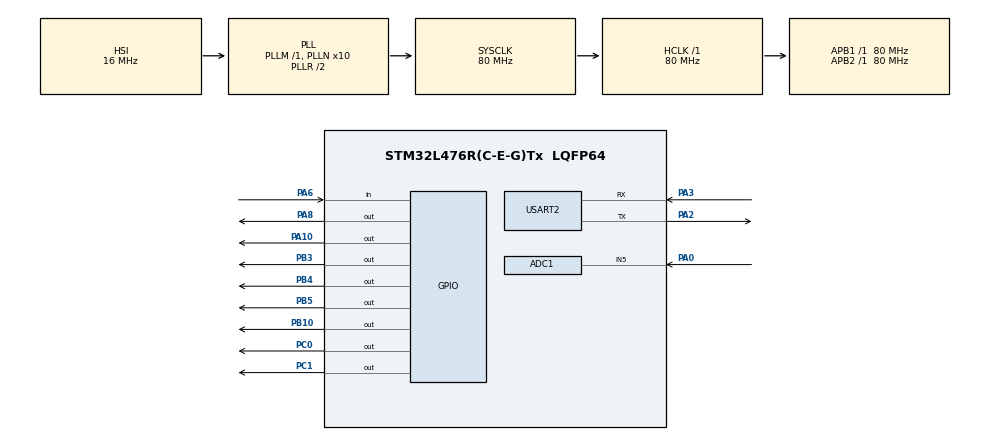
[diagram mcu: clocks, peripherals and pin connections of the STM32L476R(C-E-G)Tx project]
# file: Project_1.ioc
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ADC1.Channel-0\#ChannelRegularConversion=ADC_CHANNEL_5
ADC1.NbrOfConversionFlag=1
ADC1.OffsetNumber-0\#ChannelRegularConversion=ADC_OFFSET_NONE
ADC1.Rank-0\#ChannelRegularConversion=1
ADC1.SamplingTime-0\#ChannelRegularConversion=ADC_SAMPLETIME_2CYCLES_5
ADC1.master=1
Mcu.Family=STM32L4
Mcu.Name=STM32L476R(C-E-G)Tx
Mcu.Package=LQFP64
NVIC.PriorityGroup=NVIC_PRIORITYGROUP_4
PA0.Signal=ADCx_IN5
PA10.Signal=GPIO_Output
PA2.Mode=Asynchronous
PA2.Signal=USART2_TX
PA3.Mode=Asynchronous
PA3.Signal=USART2_RX
PA6.GPIO_PuPd=GPIO_NOPULL
PA6.Signal=GPIO_Input
PA8.Signal=GPIO_Output
PB10.Signal=GPIO_Output
PB3\ (JTDO-TRACESWO).Signal=GPIO_Output
PB4\ (NJTRST).Signal=GPIO_Output
PB5.Signal=GPIO_Output
PC0.Signal=GPIO_Output
PC1.Signal=GPIO_Output
PH0-OSC_IN\ (PH0).Mode=HSE-External-Oscillator
PH0-OSC_IN\ (PH0).Signal=RCC_OSC_IN
PH1-OSC_OUT\ (PH1).Mode=HSE-External-Oscillator
PH1-OSC_OUT\ (PH1).Signal=RCC_OSC_OUT
ProjectManager.HeapSize=0x200
ProjectManager.StackSize=0x400
ProjectManager.TargetToolchain=STM32CubeIDE
RCC.ADCFreq_Value=64000000
RCC.AHBFreq_Value=80000000
RCC.APB1Freq_Value=80000000
RCC.APB1TimFreq_Value=80000000
RCC.APB2Freq_Value=80000000
RCC.APB2TimFreq_Value=80000000
RCC.CortexFreq_Value=80000000
RCC.HCLKFreq_Value=80000000
RCC.HSE_VALUE=8000000
RCC.HSI_VALUE=16000000
RCC.LSE_VALUE=32768
RCC.MSI_VALUE=4000000
RCC.PLLN=10
RCC.PLLSourceVirtual=RCC_PLLSOURCE_HSI
RCC.PREFETCH_ENABLE=1
RCC.SYSCLKFreq_VALUE=80000000
RCC.SYSCLKSource=RCC_SYSCLKSOURCE_PLLCLK
RCC.USBFreq_Value=64000000
RCC.VCOOutputFreq_Value=160000000
SH.ADCx_IN5.0=ADC1_IN5,IN5-Single-Ended
USART2.VirtualMode-Asynchronous=VM_ASYNC
board=NUCLEO-L476RG

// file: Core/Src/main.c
/* USER CODE BEGIN Header */
/**
  ******************************************************************************
  * @file           : main.c
  * @brief          : Main program body
  ******************************************************************************
  * @attention
  *
  * <h2><center>&copy; Copyright (c) 2020 STMicroelectronics.
  * All rights reserved.</center></h2>
  *
  * This software component is licensed by ST under BSD 3-Clause license,
  * the "License"; You may not use this file except in compliance with the
  * License. You may obtain a copy of the License at:
  *                        opensource.org/licenses/BSD-3-Clause
  *
  ******************************************************************************
  */
/* USER CODE END Header */

#include "main.h"

typedef struct{
	GPIO_TypeDef* GPIO_x;
	uint16_t GPIO_Pin;
}GPIO_TYPE;

ADC_HandleTypeDef hadc1;

UART_HandleTypeDef huart2;

/* USER CODE BEGIN PV */
int DisplayMode = 1;
int DisplayCounter = 0;
int ReadS1;
/* USER CODE END PV */

void SystemClock_Config(void);
static void MX_GPIO_Init(void);
static void MX_USART2_UART_Init(void);
static void MX_ADC1_Init(void);

void TOGGLE_CYLON_DISPLAY(GPIO_TYPE* GPIO_ARRAY);
void RESET_ALL_LED(GPIO_TYPE* GPIO_ARRAY);
void SET_ALL_LED(GPIO_TYPE* GPIO_ARRAY);
void SET_PART_LED(GPIO_TYPE* GPIO_ARRAY, int* startpos);
void GET_PART_LET_POSITIONS_BY_ADC_VALUE(int* startpos, uint32_t adc_result);
//void USART_PRINT(char *msg);
//void USART2_write (int ch);

int main(void)
{
  /* USER CODE BEGIN 1 */
	GPIO_TYPE PA10 	= {.GPIO_x = GPIOA, .GPIO_Pin=GPIO_PIN_10};
	GPIO_TYPE PB3 	= {.GPIO_x = GPIOB, .GPIO_Pin=GPIO_PIN_3};
	GPIO_TYPE PB5 	= {.GPIO_x = GPIOB, .GPIO_Pin=GPIO_PIN_5};
	GPIO_TYPE PB4	= {.GPIO_x = GPIOB, .GPIO_Pin=GPIO_PIN_4};
	GPIO_TYPE PB10	= {.GPIO_x = GPIOB, .GPIO_Pin=GPIO_PIN_10};
	GPIO_TYPE PA8	= {.GPIO_x = GPIOA, .GPIO_Pin=GPIO_PIN_8};
	GPIO_TYPE PC1	= {.GPIO_x = GPIOC, .GPIO_Pin=GPIO_PIN_1};
	GPIO_TYPE PC0	= {.GPIO_x = GPIOC, .GPIO_Pin=GPIO_PIN_0};

	GPIO_TYPE GPIO_ARRAY[8] = {PA10, PB3, PB5, PB4, PB10, PA8, PC1, PC0};

	uint32_t ADC_Status;
	uint32_t ADC_Result = 0;
	int startpos = 0;
	uint8_t cylon_msg[20] = "LED Cylon Display\r\n";
	uint8_t adc_msg[20]="";

  /* USER CODE END 1 */

  /* MCU Configuration--------------------------------------------------------*/

  /* Reset of all peripherals, Initializes the Flash interface and the Systick. */
  HAL_Init();

  /* Configure the system clock */
  SystemClock_Config();

  /* Initialize all configured peripherals */
  MX_GPIO_Init();
  MX_USART2_UART_Init();
  MX_ADC1_Init();

  /* Infinite loop */
  while (1)
  {
	  ReadS1 = HAL_GPIO_ReadPin(GPIOA, GPIO_PIN_6);
	  if(ReadS1 == 1){
		  if(DisplayMode==1){
			  RESET_ALL_LED(GPIO_ARRAY);
		  }else{
			  SET_ALL_LED(GPIO_ARRAY);
		  }
		  TOGGLE_CYLON_DISPLAY(GPIO_ARRAY);
		  if(DisplayCounter++>=5){
			  DisplayCounter=0;
			  if(DisplayMode==1)
				  DisplayMode=0;
			  else
				  DisplayMode=1;
			  HAL_UART_Transmit(&huart2, (uint8_t *)cylon_msg, sizeof(cylon_msg), HAL_MAX_DELAY);
		  }
	  }else{
		  ADC_Status = HAL_ADC_Start(&hadc1);
		  ADC_Status = HAL_ADC_PollForConversion(&hadc1, 100);
		  if (ADC_Status == HAL_OK)
		  {
			  ADC_Result = HAL_ADC_GetValue(&hadc1);
		  }
		  GET_PART_LET_POSITIONS_BY_ADC_VALUE(&startpos, ADC_Result);
		  SET_PART_LED(GPIO_ARRAY, &startpos);
		  sprintf(adc_msg, "ADC Result = %d\r\n", ADC_Result);
		  HAL_UART_Transmit(&huart2, (uint8_t*)adc_msg, sizeof(adc_msg), HAL_MAX_DELAY);
//		  HAL_Delay(500);
	  }

  }
}

void TOGGLE_CYLON_DISPLAY(GPIO_TYPE* GPIO_ARRAY){
	int i=0;
	int sizeofgpio = sizeof(*GPIO_ARRAY);
	for(i=0; i<sizeofgpio; i++){
		 HAL_GPIO_TogglePin(GPIO_ARRAY[i].GPIO_x, GPIO_ARRAY[i].GPIO_Pin);
		 HAL_Delay(250);
		 HAL_GPIO_TogglePin(GPIO_ARRAY[i].GPIO_x, GPIO_ARRAY[i].GPIO_Pin);
	 }

	 for(i=sizeofgpio-2; i>0; i--){
		 HAL_GPIO_TogglePin(GPIO_ARRAY[i].GPIO_x, GPIO_ARRAY[i].GPIO_Pin);
		 HAL_Delay(250);
		 HAL_GPIO_TogglePin(GPIO_ARRAY[i].GPIO_x, GPIO_ARRAY[i].GPIO_Pin);
	 }
}

void RESET_ALL_LED(GPIO_TYPE* GPIO_ARRAY){
	int sizeofgpio = sizeof(*GPIO_ARRAY);
	for(int i=0; i<sizeofgpio; i++){
		HAL_GPIO_WritePin(GPIO_ARRAY[i].GPIO_x, GPIO_ARRAY[i].GPIO_Pin, GPIO_PIN_RESET);
	}
}

void SET_ALL_LED(GPIO_TYPE* GPIO_ARRAY){
	int sizeofgpio = sizeof(*GPIO_ARRAY);
	for(int i=0; i<sizeofgpio; i++){
		HAL_GPIO_WritePin(GPIO_ARRAY[i].GPIO_x, GPIO_ARRAY[i].GPIO_Pin, GPIO_PIN_SET);
	}
}

void SET_PART_LED(GPIO_TYPE* GPIO_ARRAY, int* startpos){
	int sizeofgpio = sizeof(*GPIO_ARRAY);
	for(int i=0; i<sizeofgpio; i++){
		if(i==*startpos){
			HAL_GPIO_WritePin(GPIO_ARRAY[i].GPIO_x, GPIO_ARRAY[i].GPIO_Pin, GPIO_PIN_SET);
			*startpos=i+1;
		}
		else
			HAL_GPIO_WritePin(GPIO_ARRAY[i].GPIO_x, GPIO_ARRAY[i].GPIO_Pin, GPIO_PIN_RESET);
	}
}

void GET_PART_LET_POSITIONS_BY_ADC_VALUE(int* startpos, uint32_t adc_result){

	if(adc_result<=511){
		*startpos=7;
	}else if(adc_result>=512 && adc_result<=1023){
		*startpos=6;
	}else if(adc_result>=1024 && adc_result<=1535){
		*startpos=5;
	}else if(adc_result>=1536 && adc_result<=2047){
		*startpos=4;
	}else if(adc_result>=2048 && adc_result<=2559){
		*startpos=3;
	}else if(adc_result>=2560 && adc_result<=3071){
		*startpos=2;
	}else if(adc_result>=3072 && adc_result<=3583){
		*startpos=1;
	}else if(adc_result>=3584 && adc_result<=4095){
		*startpos=0;
	}else{
		*startpos=0;
	}
}

//void USART_PRINT(char *buffer){
//	for(int i=0; i<strlen(buffer);i++){
//		USART2_write(buffer[i]);
//	}
//	USART2_write('\r');
//	USART2_write('\n');
//}
//
//void USART2_write (int ch) {
//    while (!(USART2->ISR & 0x0080)) {}   // wait until Tx buffer empty
//    USART2->TDR = (ch & 0xFF);
//}

void SystemClock_Config(void)
{
  RCC_OscInitTypeDef RCC_OscInitStruct = {0};
  RCC_ClkInitTypeDef RCC_ClkInitStruct = {0};
  RCC_PeriphCLKInitTypeDef PeriphClkInit = {0};

  /** Initializes the CPU, AHB and APB busses clocks
  */
  RCC_OscInitStruct.OscillatorType = RCC_OSCILLATORTYPE_HSI;
  RCC_OscInitStruct.HSIState = RCC_HSI_ON;
  RCC_OscInitStruct.HSICalibrationValue = RCC_HSICALIBRATION_DEFAULT;
  RCC_OscInitStruct.PLL.PLLState = RCC_PLL_ON;
  RCC_OscInitStruct.PLL.PLLSource = RCC_PLLSOURCE_HSI;
  RCC_OscInitStruct.PLL.PLLM = 1;
  RCC_OscInitStruct.PLL.PLLN = 10;
  RCC_OscInitStruct.PLL.PLLP = RCC_PLLP_DIV7;
  RCC_OscInitStruct.PLL.PLLQ = RCC_PLLQ_DIV2;
  RCC_OscInitStruct.PLL.PLLR = RCC_PLLR_DIV2;
  if (HAL_RCC_OscConfig(&RCC_OscInitStruct) != HAL_OK)
  {
    Error_Handler();
  }
  /** Initializes the CPU, AHB and APB busses clocks
  */
  RCC_ClkInitStruct.ClockType = RCC_CLOCKTYPE_HCLK|RCC_CLOCKTYPE_SYSCLK
                              |RCC_CLOCKTYPE_PCLK1|RCC_CLOCKTYPE_PCLK2;
  RCC_ClkInitStruct.SYSCLKSource = RCC_SYSCLKSOURCE_PLLCLK;
  RCC_ClkInitStruct.AHBCLKDivider = RCC_SYSCLK_DIV1;
  RCC_ClkInitStruct.APB1CLKDivider = RCC_HCLK_DIV1;
  RCC_ClkInitStruct.APB2CLKDivider = RCC_HCLK_DIV1;

  if (HAL_RCC_ClockConfig(&RCC_ClkInitStruct, FLASH_LATENCY_4) != HAL_OK)
  {
    Error_Handler();
  }
  PeriphClkInit.PeriphClockSelection = RCC_PERIPHCLK_USART2|RCC_PERIPHCLK_ADC;
  PeriphClkInit.Usart2ClockSelection = RCC_USART2CLKSOURCE_PCLK1;
  PeriphClkInit.AdcClockSelection = RCC_ADCCLKSOURCE_PLLSAI1;
  PeriphClkInit.PLLSAI1.PLLSAI1Source = RCC_PLLSOURCE_HSI;
  PeriphClkInit.PLLSAI1.PLLSAI1M = 1;
  PeriphClkInit.PLLSAI1.PLLSAI1N = 8;
  PeriphClkInit.PLLSAI1.PLLSAI1P = RCC_PLLP_DIV7;
  PeriphClkInit.PLLSAI1.PLLSAI1Q = RCC_PLLQ_DIV2;
  PeriphClkInit.PLLSAI1.PLLSAI1R = RCC_PLLR_DIV2;
  PeriphClkInit.PLLSAI1.PLLSAI1ClockOut = RCC_PLLSAI1_ADC1CLK;
  if (HAL_RCCEx_PeriphCLKConfig(&PeriphClkInit) != HAL_OK)
  {
    Error_Handler();
  }
  /** Configure the main internal regulator output voltage
  */
  if (HAL_PWREx_ControlVoltageScaling(PWR_REGULATOR_VOLTAGE_SCALE1) != HAL_OK)
  {
    Error_Handler();
  }
}

static void MX_ADC1_Init(void)
{

  ADC_MultiModeTypeDef multimode = {0};
  ADC_ChannelConfTypeDef sConfig = {0};

  /** Common config
  */
  hadc1.Instance = ADC1;
  hadc1.Init.ClockPrescaler = ADC_CLOCK_ASYNC_DIV1;
  hadc1.Init.Resolution = ADC_RESOLUTION_12B;
  hadc1.Init.DataAlign = ADC_DATAALIGN_RIGHT;
  hadc1.Init.ScanConvMode = ADC_SCAN_DISABLE;
  hadc1.Init.EOCSelection = ADC_EOC_SINGLE_CONV;
  hadc1.Init.LowPowerAutoWait = DISABLE;
  hadc1.Init.ContinuousConvMode = DISABLE;
  hadc1.Init.NbrOfConversion = 1;
  hadc1.Init.DiscontinuousConvMode = DISABLE;
  hadc1.Init.NbrOfDiscConversion = 1;
  hadc1.Init.ExternalTrigConv = ADC_SOFTWARE_START;
  hadc1.Init.ExternalTrigConvEdge = ADC_EXTERNALTRIGCONVEDGE_NONE;
  hadc1.Init.DMAContinuousRequests = DISABLE;
  hadc1.Init.Overrun = ADC_OVR_DATA_PRESERVED;
  hadc1.Init.OversamplingMode = DISABLE;
  if (HAL_ADC_Init(&hadc1) != HAL_OK)
  {
    Error_Handler();
  }
  /** Configure the ADC multi-mode
  */
  multimode.DMAAccessMode = ADC_DMAACCESSMODE_DISABLED;
  multimode.TwoSamplingDelay = ADC_TWOSAMPLINGDELAY_1CYCLE;
  if (HAL_ADCEx_MultiModeConfigChannel(&hadc1, &multimode) != HAL_OK)
  {
    Error_Handler();
  }
  /** Configure Regular Channel
  */
  sConfig.Channel = ADC_CHANNEL_5;
  sConfig.Rank = ADC_REGULAR_RANK_1;
  sConfig.SamplingTime = ADC_SAMPLETIME_2CYCLES_5;
  sConfig.SingleDiff = ADC_SINGLE_ENDED;
  sConfig.OffsetNumber = ADC_OFFSET_NONE;
  sConfig.Offset = 0;
  if (HAL_ADC_ConfigChannel(&hadc1, &sConfig) != HAL_OK)
  {
    Error_Handler();
  }

}

static void MX_USART2_UART_Init(void)
{

  huart2.Instance = USART2;
  huart2.Init.BaudRate = 115200;
  huart2.Init.WordLength = UART_WORDLENGTH_8B;
  huart2.Init.StopBits = UART_STOPBITS_1;
  huart2.Init.Parity = UART_PARITY_NONE;
  huart2.Init.Mode = UART_MODE_TX_RX;
  huart2.Init.HwFlowCtl = UART_HWCONTROL_NONE;
  huart2.Init.OverSampling = UART_OVERSAMPLING_16;
  huart2.Init.OneBitSampling = UART_ONE_BIT_SAMPLE_DISABLE;
  huart2.AdvancedInit.AdvFeatureInit = UART_ADVFEATURE_NO_INIT;
  if (HAL_UART_Init(&huart2) != HAL_OK)
  {
    Error_Handler();
  }

}

static void MX_GPIO_Init(void)
{
  GPIO_InitTypeDef GPIO_InitStruct = {0};

  /* GPIO Ports Clock Enable */
  __HAL_RCC_GPIOH_CLK_ENABLE();
  __HAL_RCC_GPIOC_CLK_ENABLE();
  __HAL_RCC_GPIOA_CLK_ENABLE();
  __HAL_RCC_GPIOB_CLK_ENABLE();

  /*Configure GPIO pin Output Level */
  HAL_GPIO_WritePin(GPIOC, GPIO_PIN_0|GPIO_PIN_1, GPIO_PIN_RESET);

  /*Configure GPIO pin Output Level */
  HAL_GPIO_WritePin(GPIOB, GPIO_PIN_10|GPIO_PIN_3|GPIO_PIN_4|GPIO_PIN_5, GPIO_PIN_RESET);

  /*Configure GPIO pin Output Level */
  HAL_GPIO_WritePin(GPIOA, GPIO_PIN_8|GPIO_PIN_10, GPIO_PIN_RESET);

  /*Configure GPIO pins : PC0 PC1 */
  GPIO_InitStruct.Pin = GPIO_PIN_0|GPIO_PIN_1;
  GPIO_InitStruct.Mode = GPIO_MODE_OUTPUT_PP;
  GPIO_InitStruct.Pull = GPIO_NOPULL;
  GPIO_InitStruct.Speed = GPIO_SPEED_FREQ_LOW;
  HAL_GPIO_Init(GPIOC, &GPIO_InitStruct);

  /*Configure GPIO pin : PA6 */
  GPIO_InitStruct.Pin = GPIO_PIN_6;
  GPIO_InitStruct.Mode = GPIO_MODE_INPUT;
  GPIO_InitStruct.Pull = GPIO_PULLUP;
  HAL_GPIO_Init(GPIOA, &GPIO_InitStruct);

  /*Configure GPIO pins : PB10 PB3 PB4 PB5 */
  GPIO_InitStruct.Pin = GPIO_PIN_10|GPIO_PIN_3|GPIO_PIN_4|GPIO_PIN_5;
  GPIO_InitStruct.Mode = GPIO_MODE_OUTPUT_PP;
  GPIO_InitStruct.Pull = GPIO_NOPULL;
  GPIO_InitStruct.Speed = GPIO_SPEED_FREQ_LOW;
  HAL_GPIO_Init(GPIOB, &GPIO_InitStruct);

  /*Configure GPIO pins : PA8 PA10 */
  GPIO_InitStruct.Pin = GPIO_PIN_8|GPIO_PIN_10;
  GPIO_InitStruct.Mode = GPIO_MODE_OUTPUT_PP;
  GPIO_InitStruct.Pull = GPIO_NOPULL;
  GPIO_InitStruct.Speed = GPIO_SPEED_FREQ_LOW;
  HAL_GPIO_Init(GPIOA, &GPIO_InitStruct);

}

void Error_Handler(void)
{
}

/************************ (C) COPYRIGHT STMicroelectronics *****END OF FILE****/
